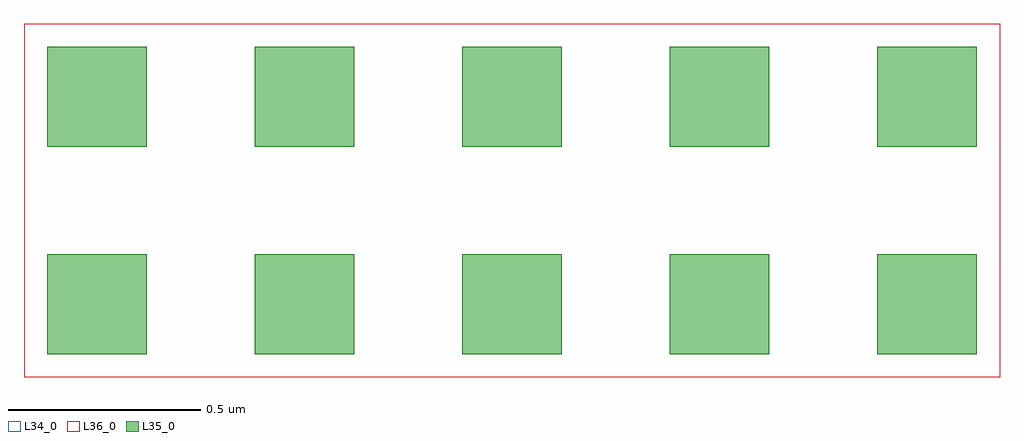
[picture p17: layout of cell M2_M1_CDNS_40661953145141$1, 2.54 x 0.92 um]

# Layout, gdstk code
import gdstk
lib = gdstk.Library(unit=1e-6, precision=1e-09)
def R(c, l, rs):  # rectangles x0, y0, x1, y1
    for r in rs: c.add(gdstk.rectangle(r[:2], r[2:], *l))
def A(c, l, x, y, w, h, nx, ny, dx, dy):  # array of equal rectangles
    R(c, l, [(x+i*dx, y+j*dy, x+i*dx+w, y+j*dy+h) for i in range(nx) for j in range(ny)])
L34_0 = (34, 0)
L35_0 = (35, 0)
L36_0 = (36, 0)

m2_m1_cdns_4066195314514 = lib.new_cell('M2_M1_CDNS_40661953145141$1')
R(m2_m1_cdns_4066195314514, L34_0, [(-1.27,-0.46,1.27,0.46)])
A(m2_m1_cdns_4066195314514, L35_0, -1.21, -0.4, 0.26, 0.26, 5, 2, 0.54, 0.54)
R(m2_m1_cdns_4066195314514, L36_0, [(-1.27,-0.46,1.27,0.46)])

lib.write_gds('M2_M1_CDNS_40661953145141_1.gds')
